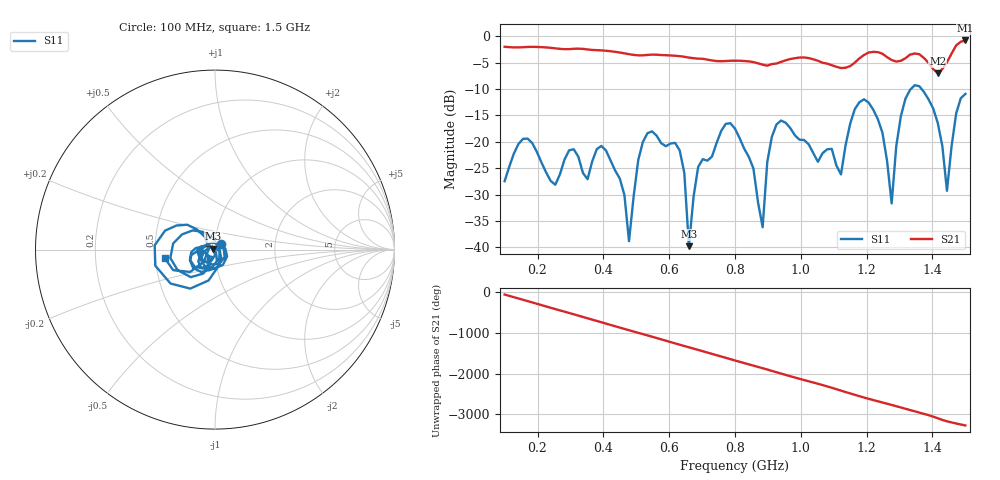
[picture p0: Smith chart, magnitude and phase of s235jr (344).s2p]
! NanoVNA-App
! Date: 2025-09-25 15:06:50
! Start: 100MHz Stop: 1,5GHz Points: 101
! S-Parameter data: F S11 S21 S12 S22
# Hz S RI R 50
!  Frequency  S11_Real  S11_Imag  S21_Real  S21_Imag  S12_Real  S12_Imag  S22_Real  S22_Imag
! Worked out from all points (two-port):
!   101 points, 100 MHz to 1.5 GHz, reference 50 ohm
!   highest |S21| = -0.77 dB at 1.5 GHz (marker M1); lowest = -7.0 dB at 1.416 GHz (marker M2)
!   |S21| within 3 dB of the highest: start of sweep to 634.3 MHz; 1.187 GHz to 1.258 GHz (71.7 MHz wide, 5.86 % of centre) (the widest 2 of 4)
!   lowest |S11| = -39.8 dB at 660 MHz (marker M3), VSWR 1.02, Z = 49.2 + j0.572 ohm
!   |S11| at or under -10 dB: start of sweep to 1.334 GHz; 1.367 GHz to end of sweep
!   S12 and S22 are empty: the file has one direction only
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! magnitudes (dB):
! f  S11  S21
! 100 MHz  -27.5  -2.0
! 156 MHz  -19.4  -2.1
! 338 MHz  -25.9  -2.4
! 408 MHz  -21.6  -2.7
! 478 MHz  -38.8  -3.4
! 520 MHz  -20.0  -3.6
! 576 MHz  -20.3  -3.5
! 632 MHz  -21.6  -3.7
! 660 MHz  -39.8  -4.0
! 688 MHz  -24.8  -4.2
! 800 MHz  -17.5  -4.6
! 884 MHz  -36.2  -5.4
! 926 MHz  -16.7  -5.1
! 1.038 GHz  -22.2  -4.3
! 1.122 GHz  -26.2  -6.0
! 1.192 GHz  -11.9  -3.5
! 1.248 GHz  -18.3  -3.3
! 1.276 GHz  -31.7  -4.5
! 1.332 GHz  -10.1  -3.5
! 1.416 GHz  -16.4  -7.0
! 1.444 GHz  -29.3  -4.9
! 1.5 GHz  -10.9  -0.8
